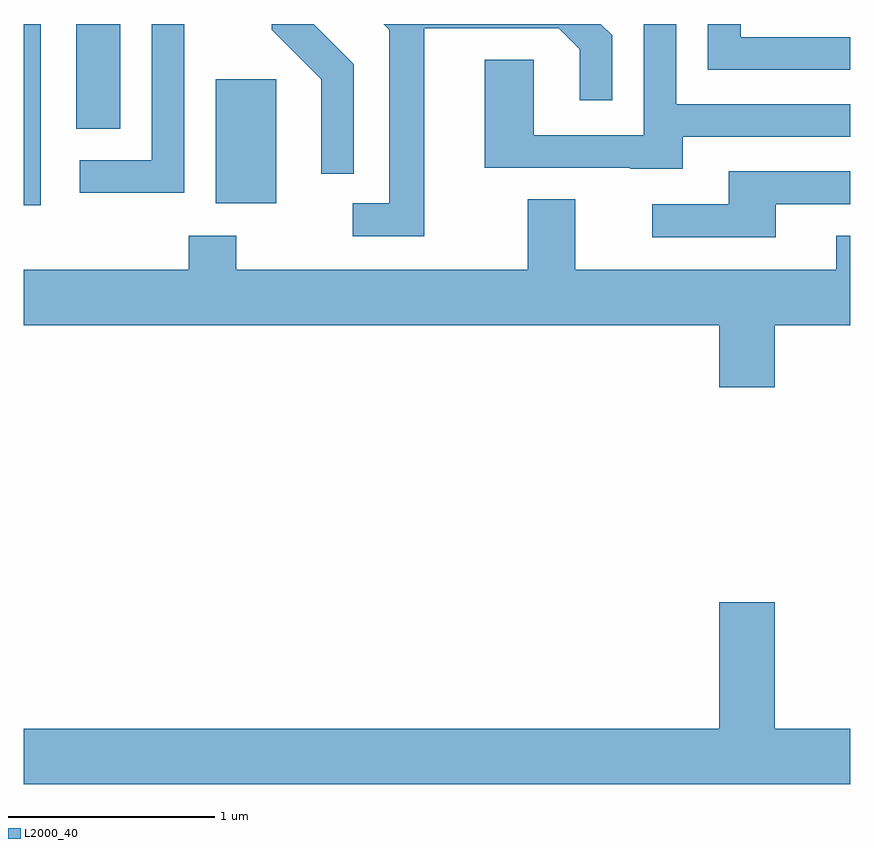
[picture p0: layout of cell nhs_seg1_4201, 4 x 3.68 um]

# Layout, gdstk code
import gdstk
lib = gdstk.Library(unit=1e-6, precision=1e-09)
def R(c, l, rs):  # rectangles x0, y0, x1, y1
    for r in rs: c.add(gdstk.rectangle(r[:2], r[2:], *l))
def P(c, l, *ps):  # polygons
    for p in ps: c.add(gdstk.Polygon(p, *l))
L2000_40 = (2000, 40)

nhs_seg1_4201 = lib.new_cell('nhs_seg1_4201')
R(nhs_seg1_4201, L2000_40, [(311.611,886.836,311.694,887.712), (312.541,886.846,312.834,887.444), (311.866,887.206,312.079,887.712)])
P(nhs_seg1_4201, L2000_40, [(313.549,887.691),(314.199,887.691),(314.301,887.589),(314.301,887.343),(314.459,887.343),(314.459,887.657),(314.404,887.712),(313.353,887.712),(313.381,887.684),(313.381,886.844),(313.203,886.844),(313.203,886.686),(313.549,886.686)],
  [(312.389,887.712),(312.231,887.712),(312.231,887.054),(311.883,887.054),(311.883,886.896),(312.389,886.896)],
  [(313.209,887.517),(313.014,887.712),(312.811,887.712),(312.811,887.684),(313.051,887.444),(313.051,886.988),(313.209,886.988)],
  [(315.611,887.649),(315.079,887.649),(315.079,887.712),(314.921,887.712),(314.921,887.491),(315.611,887.491)],
  [(314.799,887.166),(315.611,887.166),(315.611,887.324),(314.769,887.324),(314.769,887.712),(314.611,887.712),(314.611,887.174),(314.079,887.174),(314.079,887.539),(313.841,887.539),(313.841,887.016),(314.545,887.016),(314.545,887.011),(314.799,887.011)],
  [(315.249,886.841),(315.611,886.841),(315.611,886.999),(315.021,886.999),(315.021,886.839),(314.653,886.839),(314.653,886.681),(315.249,886.681)],
  [(315.244,886.256),(315.611,886.256),(315.611,886.689),(315.541,886.689),(315.541,886.524),(314.279,886.524),(314.279,886.864),(314.051,886.864),(314.051,886.524),(312.639,886.524),(312.639,886.689),(312.411,886.689),(312.411,886.524),(311.611,886.524),(311.611,886.256),(314.976,886.256),(314.976,885.956),(315.244,885.956)],
  [(315.611,884.304),(315.244,884.304),(315.244,884.914),(314.976,884.914),(314.976,884.304),(311.611,884.304),(311.611,884.036),(315.611,884.036)])

lib.write_gds('nhs_seg1_4201.gds')
